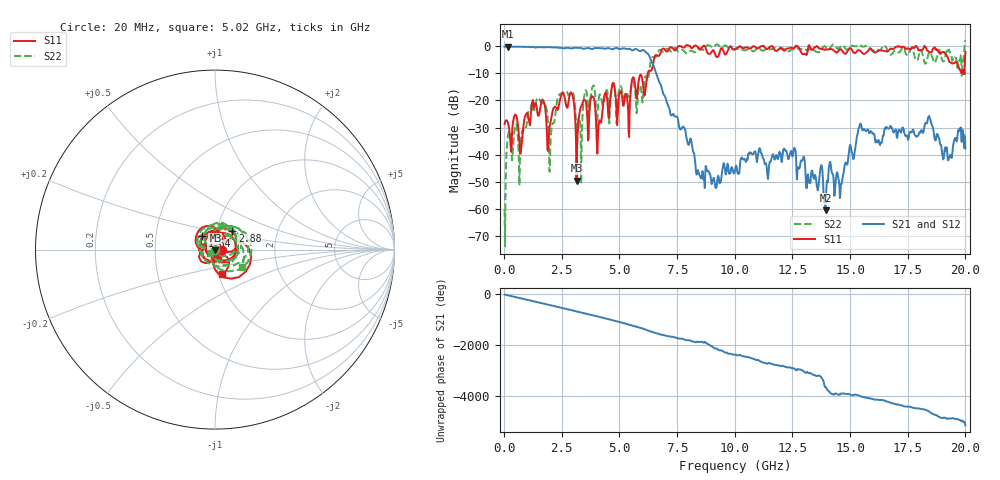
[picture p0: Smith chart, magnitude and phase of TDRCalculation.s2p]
! File created by SignalIntegrity v1.3.3: Signal and Power Integrity Tools
! https://github.com/TeledyneLeCroy/SignalIntegrity
# MHz S MA R 50.0
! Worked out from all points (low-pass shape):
!   1000 points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, 20 MHz to 20 GHz, reference 50 ohm
!   highest |S21| = -0.13 dB at 160 MHz (marker M1); lowest = -60.5 dB at 13.94 GHz (marker M2)
!   |S21| within 3 dB of the highest: start of sweep to 6.263 GHz
!   lowest |S11| = -49.5 dB at 3.14 GHz (marker M3), VSWR 1.01, Z = 50.2 - j0.26 ohm
!   |S11| at or under -10 dB: start of sweep to 6.229 GHz; 19.91693 GHz to 19.92371 GHz (6.779 MHz wide, 0.034 % of centre); 19.9566 GHz to 19.96082 GHz (4.214 MHz wide, 0.0211 % of centre)
!   |S22| runs from -73.7 to 2.1 dB; largest |S21 - S12| = 0
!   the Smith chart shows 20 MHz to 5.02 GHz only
!   S11 on the Smith chart (normalised r, x): 20 MHz: 1.08, -0.01; 1.64 GHz: 0.86, +0.13; 2.88 GHz: 1.18, +0.25; 5.02 GHz: 1.04, -0.29
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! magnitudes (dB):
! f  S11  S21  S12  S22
! 20 MHz  -28.7  -0.2  -0.2  -60.3
! 160 MHz  -28.1  -0.1  -0.1  -33.2
! 720 MHz  -39.1  -0.2  -0.2  -34.9
! 1.64 GHz  -19.8  -0.4  -0.4  -20.8
! 2.02 GHz  -27.5  -0.4  -0.4  -33.8
! 2.38 GHz  -21.5  -0.6  -0.6  -18.0
! 2.88 GHz  -17.0  -0.8  -0.8  -17.3
! 3.14 GHz  -49.5  -0.6  -0.6  -38.2
! 3.36 GHz  -21.9  -0.8  -0.8  -36.6
! 3.52 GHz  -20.0  -0.8  -0.8  -16.5
! 4.1 GHz  -28.8  -0.7  -0.7  -19.4
! 5.02 GHz  -16.9  -1.0  -1.0  -14.9
! 5.78 GHz  -16.9  -1.3  -1.3  -20.7
! 6.68 GHz  -3.6  -12.1  -12.1  -1.9
! 8.44 GHz  -0.8  -46.5  -46.5  -0.9
! 10.02 GHz  -1.1  -45.5  -45.5  -1.1
! 12.54 GHz  -0.7  -39.0  -39.0  -1.2
! 13.34 GHz  -1.4  -45.9  -45.9  -1.0
! 13.94 GHz  -1.3  -60.5  -60.5  -0.3
! 15.42 GHz  -1.5  -29.1  -29.1  0.5
! 16.68 GHz  -1.6  -30.4  -30.4  -2.6
! 20 GHz  -2.1  -37.7  -37.7  2.1
